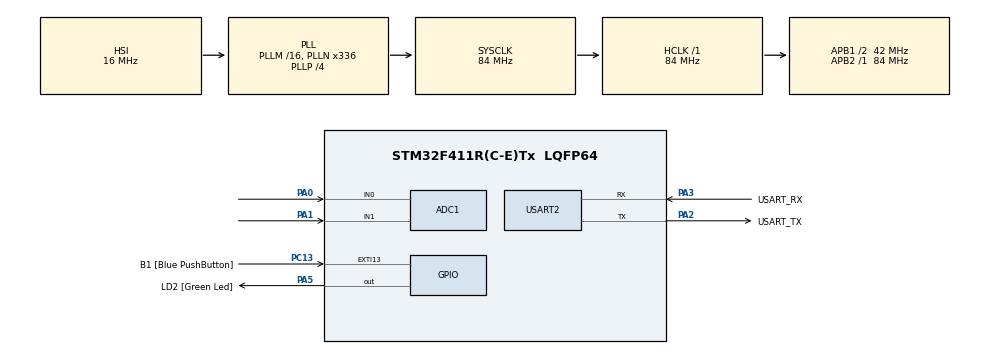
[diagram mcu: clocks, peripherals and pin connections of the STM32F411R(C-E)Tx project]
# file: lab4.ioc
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ADC1.Channel-0\#ChannelRegularConversion=ADC_CHANNEL_0
ADC1.Channel-1\#ChannelRegularConversion=ADC_CHANNEL_1
ADC1.ContinuousConvMode=ENABLE
ADC1.DMAContinuousRequests=ENABLE
ADC1.NbrOfConversion=2
ADC1.NbrOfConversionFlag=1
ADC1.Rank-0\#ChannelRegularConversion=1
ADC1.Rank-1\#ChannelRegularConversion=2
ADC1.SamplingTime-0\#ChannelRegularConversion=ADC_SAMPLETIME_480CYCLES
ADC1.SamplingTime-1\#ChannelRegularConversion=ADC_SAMPLETIME_480CYCLES
ADC1.ScanConvMode=ENABLE
ADC1.master=1
Dma.ADC1.0.Direction=DMA_PERIPH_TO_MEMORY
Dma.ADC1.0.FIFOMode=DMA_FIFOMODE_DISABLE
Dma.ADC1.0.Instance=DMA2_Stream0
Dma.ADC1.0.MemDataAlignment=DMA_MDATAALIGN_WORD
Dma.ADC1.0.MemInc=DMA_MINC_ENABLE
Dma.ADC1.0.Mode=DMA_CIRCULAR
Dma.ADC1.0.PeriphDataAlignment=DMA_PDATAALIGN_WORD
Dma.ADC1.0.PeriphInc=DMA_PINC_DISABLE
Dma.ADC1.0.Priority=DMA_PRIORITY_LOW
Dma.Request0=ADC1
Mcu.Family=STM32F4
Mcu.Name=STM32F411R(C-E)Tx
Mcu.Package=LQFP64
NVIC.ADC_IRQn=true\:0\:0\:false\:false\:true\:true\:true
NVIC.DMA2_Stream0_IRQn=true\:0\:0\:false\:false\:true\:false\:true
NVIC.EXTI15_10_IRQn=true\:0\:0\:false\:false\:true\:true\:true
NVIC.PriorityGroup=NVIC_PRIORITYGROUP_0
PA0-WKUP.Signal=ADCx_IN0
PA1.Signal=ADCx_IN1
PA13.GPIO_Label=TMS
PA13.Mode=Serial_Wire
PA13.Signal=SYS_JTMS-SWDIO
PA14.GPIO_Label=TCK
PA14.Mode=Serial_Wire
PA14.Signal=SYS_JTCK-SWCLK
PA2.GPIO_Label=USART_TX
PA2.Mode=Asynchronous
PA2.Signal=USART2_TX
PA3.GPIO_Label=USART_RX
PA3.Mode=Asynchronous
PA3.Signal=USART2_RX
PA5.GPIO_Label=LD2 [Green Led]
PA5.Signal=GPIO_Output
PB3.GPIO_Label=SWO
PB3.Signal=SYS_JTDO-SWO
PC13-ANTI_TAMP.GPIO_Label=B1 [Blue PushButton]
PC13-ANTI_TAMP.GPIO_ModeDefaultEXTI=GPIO_MODE_IT_RISING_FALLING
PC13-ANTI_TAMP.GPIO_PuPd=GPIO_PULLUP
PC13-ANTI_TAMP.Signal=GPXTI13
PC14-OSC32_IN.Mode=LSE-External-Oscillator
PC14-OSC32_IN.Signal=RCC_OSC32_IN
PC15-OSC32_OUT.Mode=LSE-External-Oscillator
PC15-OSC32_OUT.Signal=RCC_OSC32_OUT
PH0\ -\ OSC_IN.Mode=HSE-External-Clock-Source
PH0\ -\ OSC_IN.Signal=RCC_OSC_IN
PH1\ -\ OSC_OUT.Mode=HSE-External-Clock-Source
PH1\ -\ OSC_OUT.Signal=RCC_OSC_OUT
ProjectManager.HeapSize=0x200
ProjectManager.StackSize=0x400
ProjectManager.TargetToolchain=STM32CubeIDE
RCC.48MHZClocksFreq_Value=84000000
RCC.AHBFreq_Value=84000000
RCC.APB1CLKDivider=RCC_HCLK_DIV2
RCC.APB1Freq_Value=42000000
RCC.APB1TimFreq_Value=84000000
RCC.APB2Freq_Value=84000000
RCC.APB2TimFreq_Value=84000000
RCC.CortexFreq_Value=84000000
RCC.FLatency-AdvancedSettings=FLASH_LATENCY_2
RCC.HCLKFreq_Value=84000000
RCC.HSE_VALUE=8000000
RCC.HSI_VALUE=16000000
RCC.PLLN=336
RCC.PLLP=RCC_PLLP_DIV4
RCC.SYSCLKFreq_VALUE=84000000
RCC.SYSCLKSource=RCC_SYSCLKSOURCE_PLLCLK
RCC.VCOOutputFreq_Value=336000000
SH.ADCx_IN0.0=ADC1_IN0,IN0
SH.ADCx_IN1.0=ADC1_IN1,IN1
USART2.VirtualMode=VM_ASYNC
board=NUCLEO-F411RE

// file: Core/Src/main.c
/* USER CODE BEGIN Header */
/**
 ******************************************************************************
 * @file           : main.c
 * @brief          : Main program body
 ******************************************************************************
 * @attention
 *
 * <h2><center>&copy; Copyright (c) 2021 STMicroelectronics.
 * All rights reserved.</center></h2>
 *
 * This software component is licensed by ST under BSD 3-Clause license,
 * the "License"; You may not use this file except in compliance with the
 * License. You may obtain a copy of the License at:
 *                        opensource.org/licenses/BSD-3-Clause
 *
 ******************************************************************************
 */
/* USER CODE END Header */
#include "main.h"

ADC_HandleTypeDef hadc1;
DMA_HandleTypeDef hdma_adc1;

UART_HandleTypeDef huart2;

/* USER CODE BEGIN PV */
uint32_t ADCData[2] = { 0 };
/* USER CODE END PV */

void SystemClock_Config(void);
static void MX_GPIO_Init(void);
static void MX_DMA_Init(void);
static void MX_USART2_UART_Init(void);
static void MX_ADC1_Init(void);
/* USER CODE BEGIN PFP */
uint32_t randomtime = 0;
uint32_t timefirst = 0;
uint32_t timeres = 0;
/* USER CODE END PFP */

int main(void) {

	/* MCU Configuration--------------------------------------------------------*/

	/* Reset of all peripherals, Initializes the Flash interface and the Systick. */
	HAL_Init();

	/* Configure the system clock */
	SystemClock_Config();

	/* Initialize all configured peripherals */
	MX_GPIO_Init();
	MX_DMA_Init();
	MX_USART2_UART_Init();
	MX_ADC1_Init();
	/* USER CODE BEGIN 2 */
	HAL_ADC_Start_DMA(&hadc1, ADCData, 2);
	HAL_GPIO_WritePin(GPIOA, GPIO_PIN_5, 1);
	/* USER CODE END 2 */

	/* Infinite loop */
	while (1) {

		/* USER CODE BEGIN 3 */
		if(randomtime != 0)
		{
			if(HAL_GetTick()  >= timefirst){
				HAL_GPIO_WritePin(GPIOA, GPIO_PIN_5, 1);

			}
		}
	}
	/* USER CODE END 3 */
}

void SystemClock_Config(void) {
	RCC_OscInitTypeDef RCC_OscInitStruct = { 0 };
	RCC_ClkInitTypeDef RCC_ClkInitStruct = { 0 };

	/** Configure the main internal regulator output voltage
	 */
	__HAL_RCC_PWR_CLK_ENABLE();
	__HAL_PWR_VOLTAGESCALING_CONFIG(PWR_REGULATOR_VOLTAGE_SCALE1);
	/** Initializes the RCC Oscillators according to the specified parameters
	 * in the RCC_OscInitTypeDef structure.
	 */
	RCC_OscInitStruct.OscillatorType = RCC_OSCILLATORTYPE_HSI;
	RCC_OscInitStruct.HSIState = RCC_HSI_ON;
	RCC_OscInitStruct.HSICalibrationValue = RCC_HSICALIBRATION_DEFAULT;
	RCC_OscInitStruct.PLL.PLLState = RCC_PLL_ON;
	RCC_OscInitStruct.PLL.PLLSource = RCC_PLLSOURCE_HSI;
	RCC_OscInitStruct.PLL.PLLM = 16;
	RCC_OscInitStruct.PLL.PLLN = 336;
	RCC_OscInitStruct.PLL.PLLP = RCC_PLLP_DIV4;
	RCC_OscInitStruct.PLL.PLLQ = 4;
	if (HAL_RCC_OscConfig(&RCC_OscInitStruct) != HAL_OK) {
		Error_Handler();
	}
	/** Initializes the CPU, AHB and APB buses clocks
	 */
	RCC_ClkInitStruct.ClockType = RCC_CLOCKTYPE_HCLK | RCC_CLOCKTYPE_SYSCLK
			| RCC_CLOCKTYPE_PCLK1 | RCC_CLOCKTYPE_PCLK2;
	RCC_ClkInitStruct.SYSCLKSource = RCC_SYSCLKSOURCE_PLLCLK;
	RCC_ClkInitStruct.AHBCLKDivider = RCC_SYSCLK_DIV1;
	RCC_ClkInitStruct.APB1CLKDivider = RCC_HCLK_DIV2;
	RCC_ClkInitStruct.APB2CLKDivider = RCC_HCLK_DIV1;

	if (HAL_RCC_ClockConfig(&RCC_ClkInitStruct, FLASH_LATENCY_2) != HAL_OK) {
		Error_Handler();
	}
}

static void MX_ADC1_Init(void) {

	ADC_ChannelConfTypeDef sConfig = { 0 };

	/** Configure the global features of the ADC (Clock, Resolution, Data Alignment and number of conversion)
	 */
	hadc1.Instance = ADC1;
	hadc1.Init.ClockPrescaler = ADC_CLOCK_SYNC_PCLK_DIV4;
	hadc1.Init.Resolution = ADC_RESOLUTION_12B;
	hadc1.Init.ScanConvMode = ENABLE;
	hadc1.Init.ContinuousConvMode = ENABLE;
	hadc1.Init.DiscontinuousConvMode = DISABLE;
	hadc1.Init.ExternalTrigConvEdge = ADC_EXTERNALTRIGCONVEDGE_NONE;
	hadc1.Init.ExternalTrigConv = ADC_SOFTWARE_START;
	hadc1.Init.DataAlign = ADC_DATAALIGN_RIGHT;
	hadc1.Init.NbrOfConversion = 2;
	hadc1.Init.DMAContinuousRequests = ENABLE;
	hadc1.Init.EOCSelection = ADC_EOC_SINGLE_CONV;
	if (HAL_ADC_Init(&hadc1) != HAL_OK) {
		Error_Handler();
	}
	/** Configure for the selected ADC regular channel its corresponding rank in the sequencer and its sample time.
	 */
	sConfig.Channel = ADC_CHANNEL_0;
	sConfig.Rank = 1;
	sConfig.SamplingTime = ADC_SAMPLETIME_480CYCLES;
	if (HAL_ADC_ConfigChannel(&hadc1, &sConfig) != HAL_OK) {
		Error_Handler();
	}
	/** Configure for the selected ADC regular channel its corresponding rank in the sequencer and its sample time.
	 */
	sConfig.Channel = ADC_CHANNEL_1;
	sConfig.Rank = 2;
	if (HAL_ADC_ConfigChannel(&hadc1, &sConfig) != HAL_OK) {
		Error_Handler();
	}

}

static void MX_USART2_UART_Init(void) {

	huart2.Instance = USART2;
	huart2.Init.BaudRate = 115200;
	huart2.Init.WordLength = UART_WORDLENGTH_8B;
	huart2.Init.StopBits = UART_STOPBITS_1;
	huart2.Init.Parity = UART_PARITY_NONE;
	huart2.Init.Mode = UART_MODE_TX_RX;
	huart2.Init.HwFlowCtl = UART_HWCONTROL_NONE;
	huart2.Init.OverSampling = UART_OVERSAMPLING_16;
	if (HAL_UART_Init(&huart2) != HAL_OK) {
		Error_Handler();
	}

}

static void MX_DMA_Init(void) {

	/* DMA controller clock enable */
	__HAL_RCC_DMA2_CLK_ENABLE();

	/* DMA interrupt init */
	/* DMA2_Stream0_IRQn interrupt configuration */
	HAL_NVIC_SetPriority(DMA2_Stream0_IRQn, 0, 0);
	HAL_NVIC_EnableIRQ(DMA2_Stream0_IRQn);

}

static void MX_GPIO_Init(void) {
	GPIO_InitTypeDef GPIO_InitStruct = { 0 };

	/* GPIO Ports Clock Enable */
	__HAL_RCC_GPIOC_CLK_ENABLE();
	__HAL_RCC_GPIOH_CLK_ENABLE();
	__HAL_RCC_GPIOA_CLK_ENABLE();
	__HAL_RCC_GPIOB_CLK_ENABLE();

	/*Configure GPIO pin Output Level */
	HAL_GPIO_WritePin(LD2_GPIO_Port, LD2_Pin, GPIO_PIN_RESET);

	/*Configure GPIO pin : B1_Pin */
	GPIO_InitStruct.Pin = B1_Pin;
	GPIO_InitStruct.Mode = GPIO_MODE_IT_RISING_FALLING;
	GPIO_InitStruct.Pull = GPIO_PULLUP;
	HAL_GPIO_Init(B1_GPIO_Port, &GPIO_InitStruct);

	/*Configure GPIO pin : LD2_Pin */
	GPIO_InitStruct.Pin = LD2_Pin;
	GPIO_InitStruct.Mode = GPIO_MODE_OUTPUT_PP;
	GPIO_InitStruct.Pull = GPIO_NOPULL;
	GPIO_InitStruct.Speed = GPIO_SPEED_FREQ_LOW;
	HAL_GPIO_Init(LD2_GPIO_Port, &GPIO_InitStruct);

	/* EXTI interrupt init*/
	HAL_NVIC_SetPriority(EXTI15_10_IRQn, 0, 0);
	HAL_NVIC_EnableIRQ(EXTI15_10_IRQn);

}

/* USER CODE BEGIN 4 */
void HAL_GPIO_EXTI_Callback(uint16_t GPIO_Pin) {
	if (GPIO_Pin == GPIO_PIN_13) {

		if (HAL_GPIO_ReadPin(GPIOC, GPIO_PIN_13) == 0) {
			randomtime = 1000 + ((22695477 * ADCData[0]) + ADCData[1]) % 10000;
			HAL_GPIO_WritePin(GPIOA, GPIO_PIN_5, 0);
			timefirst = HAL_GetTick() + randomtime ;
		}

		else if (HAL_GPIO_ReadPin(GPIOA, GPIO_PIN_13) == 1){
			timeres = HAL_GetTick()  - timefirst ;
		}

	}

}
/* USER CODE END 4 */

void Error_Handler(void) {
	__disable_irq();
	while (1) {
	}
}

/************************ (C) COPYRIGHT STMicroelectronics *****END OF FILE****/
